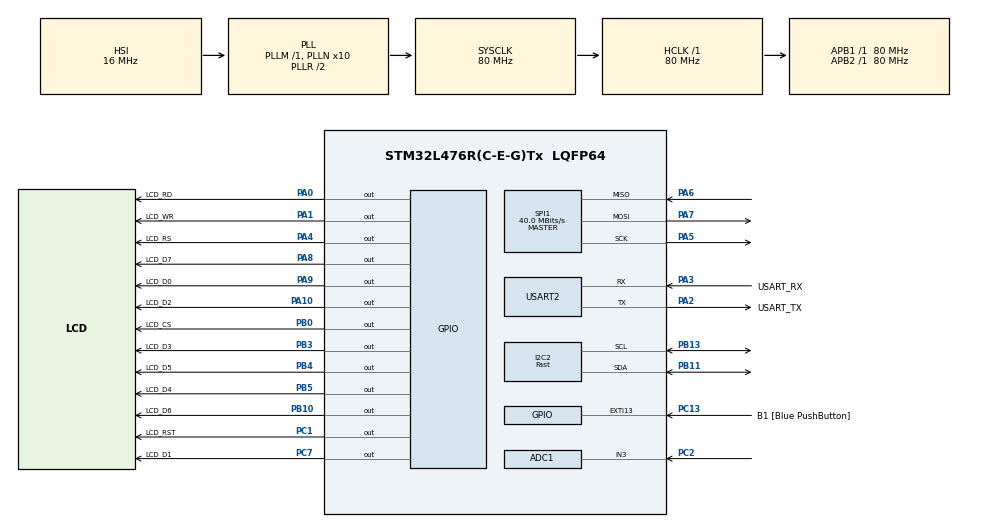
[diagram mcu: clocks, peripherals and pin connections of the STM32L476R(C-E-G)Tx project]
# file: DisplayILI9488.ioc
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ADC1.Channel-1\#ChannelRegularConversion=ADC_CHANNEL_3
ADC1.NbrOfConversionFlag=1
ADC1.OffsetNumber-1\#ChannelRegularConversion=ADC_OFFSET_NONE
ADC1.Rank-1\#ChannelRegularConversion=1
ADC1.SamplingTime-1\#ChannelRegularConversion=ADC_SAMPLETIME_2CYCLES_5
ADC1.master=1
I2C2.I2C_Speed_Mode=I2C_Fast
I2C2.Timing=0x00702991
Mcu.Family=STM32L4
Mcu.Name=STM32L476R(C-E-G)Tx
Mcu.Package=LQFP64
NVIC.PriorityGroup=NVIC_PRIORITYGROUP_4
PA0.GPIO_Label=LCD_RD
PA0.Signal=GPIO_Output
PA1.GPIO_Label=LCD_WR
PA1.Signal=GPIO_Output
PA10.GPIO_Label=LCD_D2
PA10.Signal=GPIO_Output
PA13\ (JTMS-SWDIO).GPIO_Label=TMS
PA13\ (JTMS-SWDIO).Mode=Serial_Wire
PA13\ (JTMS-SWDIO).Signal=SYS_JTMS-SWDIO
PA14\ (JTCK-SWCLK).GPIO_Label=TCK
PA14\ (JTCK-SWCLK).Mode=Serial_Wire
PA14\ (JTCK-SWCLK).Signal=SYS_JTCK-SWCLK
PA2.GPIO_Label=USART_TX
PA2.GPIO_Mode=GPIO_MODE_AF_PP
PA2.GPIO_PuPd=GPIO_NOPULL
PA2.GPIO_Speed=GPIO_SPEED_FREQ_VERY_HIGH
PA2.Mode=Asynchronous
PA2.Signal=USART2_TX
PA3.GPIO_Label=USART_RX
PA3.GPIO_Mode=GPIO_MODE_AF_PP
PA3.GPIO_PuPd=GPIO_NOPULL
PA3.GPIO_Speed=GPIO_SPEED_FREQ_VERY_HIGH
PA3.Mode=Asynchronous
PA3.Signal=USART2_RX
PA4.GPIO_Label=LCD_RS
PA4.Signal=GPIO_Output
PA5.Mode=Full_Duplex_Master
PA5.Signal=SPI1_SCK
PA6.Mode=Full_Duplex_Master
PA6.Signal=SPI1_MISO
PA7.Mode=Full_Duplex_Master
PA7.Signal=SPI1_MOSI
PA8.GPIO_Label=LCD_D7
PA8.Signal=GPIO_Output
PA9.GPIO_Label=LCD_D0
PA9.Signal=GPIO_Output
PB0.GPIO_Label=LCD_CS
PB0.Signal=GPIO_Output
PB10.GPIO_Label=LCD_D6
PB10.Signal=GPIO_Output
PB11.Mode=I2C
PB11.Signal=I2C2_SDA
PB13.Mode=I2C
PB13.Signal=I2C2_SCL
PB3\ (JTDO-TRACESWO).GPIO_Label=LCD_D3
PB3\ (JTDO-TRACESWO).Signal=GPIO_Output
PB4\ (NJTRST).GPIO_Label=LCD_D5
PB4\ (NJTRST).Signal=GPIO_Output
PB5.GPIO_Label=LCD_D4
PB5.Signal=GPIO_Output
PC1.GPIO_Label=LCD_RST
PC1.Signal=GPIO_Output
PC13.GPIO_Label=B1 [Blue PushButton]
PC13.GPIO_ModeDefaultEXTI=GPIO_MODE_IT_FALLING
PC13.GPIO_PuPd=GPIO_NOPULL
PC13.Signal=GPXTI13
PC14-OSC32_IN\ (PC14).Mode=LSE-External-Oscillator
PC14-OSC32_IN\ (PC14).Signal=RCC_OSC32_IN
PC15-OSC32_OUT\ (PC15).Mode=LSE-External-Oscillator
PC15-OSC32_OUT\ (PC15).Signal=RCC_OSC32_OUT
PC2.Signal=ADCx_IN3
PC7.GPIO_Label=LCD_D1
PC7.Signal=GPIO_Output
PH0-OSC_IN\ (PH0).Signal=RCC_OSC_IN
PH1-OSC_OUT\ (PH1).Signal=RCC_OSC_OUT
ProjectManager.HeapSize=0x200
ProjectManager.StackSize=0x400
ProjectManager.TargetToolchain=STM32CubeIDE
RCC.ADCFreq_Value=64000000
RCC.AHBFreq_Value=80000000
RCC.APB1Freq_Value=80000000
RCC.APB1TimFreq_Value=80000000
RCC.APB2Freq_Value=80000000
RCC.APB2TimFreq_Value=80000000
RCC.CortexFreq_Value=80000000
RCC.HCLKFreq_Value=80000000
RCC.HSE_VALUE=8000000
RCC.HSI_VALUE=16000000
RCC.MSI_VALUE=4000000
RCC.PLLN=10
RCC.PLLSourceVirtual=RCC_PLLSOURCE_HSI
RCC.PREFETCH_ENABLE=1
RCC.SYSCLKFreq_VALUE=80000000
RCC.SYSCLKSource=RCC_SYSCLKSOURCE_PLLCLK
RCC.USBFreq_Value=64000000
RCC.VCOOutputFreq_Value=160000000
SH.ADCx_IN3.0=ADC1_IN3,IN3-Single-Ended
SPI1.CalculateBaudRate=40.0 MBits/s
SPI1.Direction=SPI_DIRECTION_2LINES
SPI1.Mode=SPI_MODE_MASTER
SPI1.VirtualType=VM_MASTER
TIM1.Prescaler=79
USART2.VirtualMode-Asynchronous=VM_ASYNC
VP_TIM1_VS_ClockSourceINT.Mode=Internal
board=NUCLEO-L476RG

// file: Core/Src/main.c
/* USER CODE BEGIN Header */
/**
  ******************************************************************************
  * @file           : main.c
  * @brief          : Main program body
  ******************************************************************************
  * @attention
  *
  * Copyright (c) 2022 STMicroelectronics.
  * All rights reserved.
  *
  * This software is licensed under terms that can be found in the LICENSE file
  * in the root directory of this software component.
  * If no LICENSE file comes with this software, it is provided AS-IS.
  *
  ******************************************************************************
  */
/* USER CODE END Header */
#include "main.h"

/* USER CODE BEGIN Includes */
#include <stdio.h>
#include "fonts.h"
#include "tft.h"
#include "user_setting.h"
#include "functions.h"
#include "tft_test.h"

#include "MLX90640_API.h"
/* USER CODE END Includes */

 ADC_HandleTypeDef hadc1;

I2C_HandleTypeDef hi2c2;

SPI_HandleTypeDef hspi1;

TIM_HandleTypeDef htim1;

UART_HandleTypeDef huart2;

/* USER CODE BEGIN PV */
#define  FPS2HZ   0x02
#define  FPS4HZ   0x03
#define  FPS8HZ   0x04
#define  FPS16HZ  0x05
#define  FPS32HZ  0x06

#define  MLX90640_ADDR 0x33
#define	 RefreshRate FPS16HZ
#define  TA_SHIFT 8 //Default shift for MLX90640 in open air

static uint16_t eeMLX90640[832];
static float mlx90640To[768];
uint16_t frame[834];
float emissivity=0.95;

/* USER CODE END PV */

void SystemClock_Config(void);
static void MX_GPIO_Init(void);
static void MX_USART2_UART_Init(void);
static void MX_SPI1_Init(void);
static void MX_TIM1_Init(void);
static void MX_ADC1_Init(void);
static void MX_I2C2_Init(void);

/* USER CODE BEGIN 0 */
uint16_t ID = 0;

/***********************************getHeatMapColor********************************
 * Returns heat map colour for the passed value. The passed value is expected to be
 * between 0 and 1
 * Code developed from source at http://www.andrewnoske.com/wiki/Code_-_heatmaps_and_color_gradients
 * */
uint16_t getHeatMapColour(float value)
{
#define NUM_COLORS 6

  /*Scale colours between 0.0 and 255.0*/
  const float color[NUM_COLORS][3] = { {0.0, 0.0, 255.0}, {0.0, 255.0, 0.0}, {255.0, 255.0, 0.0}, {255.0, 0.0, 0.0}, {255.0, 0.0, 255.0}, {255.0, 255.0, 255.0} };
    // A static array of 4 colors:  (blue,   green,  yellow,  red) using {r,g,b} for each.

  int idx1;        // |-- Our desired color will be between these two indexes in "color".
  int idx2;        // |
  float fractBetween = 0.0f;  // Fraction between "idx1" and "idx2" where our value is.
  unsigned int RGBPixel;

  if(value <= 0.0f)
  {
	  idx1 = idx2 = 0;	// accounts for an input <=0
  }else{
	  if(value >= 1)
	  {
		  idx1 = idx2 = NUM_COLORS - 1;	// accounts for an input >=0
	  }else{
		value = value * (float)(NUM_COLORS - 1);        // Will multiply value by 3.
		idx1  = (int)value;                        // Our desired color will be after this index.
		idx2  = idx1 + 1;                        // ... and before this index (inclusive).
		fractBetween = value - (float)idx1;    // Distance between the two indexes (0-1).
	  }
  }

  /*Calculate pixel colour based on RGB565 format*/
  RGBPixel = (((unsigned int)((color[idx2][0] - color[idx1][0]) * fractBetween + color[idx1][0]) & 0xF8) << 8) |	/*Red*/
		     (((unsigned int)((color[idx2][1] - color[idx1][1]) * fractBetween + color[idx1][1]) & 0xFC) << 3) |	/*Green*/
			 (((unsigned int)((color[idx2][2] - color[idx1][2]) * fractBetween + color[idx1][2]) & 0xFB) >> 3);		/*Blue*/

  return (uint16_t)RGBPixel;
}

#define MLX90640_X_PIXELS 32
#define MLX90640_Y_PIXELS 24
/************************************DisplayHeatMap**********************************/
void DisplayHeatMap(int16_t x, int16_t y, float *HeatMap, float min, float max, uint16_t size)
{
	int Xloop, Yloop;
	float *HPtr;
	float m,c;
	uint16_t PixelColour;

	m = 1.0f / (max - min);
	c = min / (min - max);

	HPtr = HeatMap;
	for(Yloop = 0 ; Yloop < MLX90640_Y_PIXELS ; Yloop++)
	{
		for(Xloop = 0 ; Xloop < MLX90640_X_PIXELS ; Xloop++)
		{
			/*Determine pixel colour and rescale passed heat to be between 0 and 1 for required heat range*/
			PixelColour = getHeatMapColour((*HPtr * m) + c);
			++HPtr;
			/*(0,0) is bottom left for display. Need to invert y-axis to look correct*/
			TFT_fillRect(x + (size * Xloop)  , y + (size * ((MLX90640_Y_PIXELS - 1)  - Yloop)), size, size, PixelColour);
		}
	}
}

void ThermoScaleDraw(int16_t x, int16_t y, int16_t width, int16_t height, float min, float max)
{
	int 	row;
	float 	HeatInc;
	float	Heat;
	int		HeatLine;
	uint16_t	HeatColour;
	float m,c;
	char	msg[6];

	m = 1.0f / (max - min);
	c = min / (min - max);

	HeatInc = (max - min) / (float)(height);
	Heat = min;
	HeatLine = (int)(Heat + 1.0f);
	for(row = y + height; row >= y  ; row--)
	{
		HeatColour = getHeatMapColour((Heat * m) + c);
		if(Heat >= HeatLine)
		{
			TFT_drawFastHLine(x, row, width, HeatColour);
			sprintf(msg,"%+2.0f", Heat);
			TFT_setCursor(x-34, row + 5);
			TFT_printstr((uint8_t *)msg);
			HeatLine += 4;
		}else{
			TFT_drawFastHLine(x + 10, row, width-10 , HeatColour);
		}
		Heat += HeatInc;
	}
}

/* USER CODE END 0 */

int main(void)
{
  /* USER CODE BEGIN 1 */
uint32_t    	ret;
uint16_t    	ADCval;
char			msg[32];
TSPoint			TSCor;
int				TC_status;
float			TC_vdd, TC_Ta, TC_tr;
float			HeatMin = 15.0f, HeatMax = 40.0f;
paramsMLX90640 	mlx90640;

  /* USER CODE END 1 */

  /* MCU Configuration--------------------------------------------------------*/

  /* Reset of all peripherals, Initializes the Flash interface and the Systick. */
  HAL_Init();

  /* Configure the system clock */
  SystemClock_Config();

  /* Initialize all configured peripherals */
  MX_GPIO_Init();
  MX_USART2_UART_Init();
  MX_SPI1_Init();
  MX_TIM1_Init();
  MX_ADC1_Init();
  MX_I2C2_Init();
  /* USER CODE BEGIN 2 */

  /*Setup thermo camera*/
  MLX90640_SetRefreshRate(MLX90640_ADDR, RefreshRate);
  MLX90640_SetChessMode(MLX90640_ADDR);

  TC_status = MLX90640_DumpEE(MLX90640_ADDR, eeMLX90640);
  if (TC_status != 0)
	  printf("\r\nload system parameters error with code:%d\r\n", TC_status);
  TC_status = MLX90640_ExtractParameters(eeMLX90640, &mlx90640);
  if (TC_status != 0)
	  printf("\r\nParameter extraction failed with error code:%d\r\n", TC_status);

  /*Calibrate the ADC*/
  ret = HAL_ADCEx_Calibration_Start(&hadc1, ADC_SINGLE_ENDED);
  if(ret != HAL_OK)
  {
	  Error_Handler();
  }
  HAL_TIM_Base_Start(&htim1);

  /*Reset the display before calling any display related commands*/
  TFT_reset();
  ID = TFT_readID();

  HAL_Delay(100);

  TFT_init(ID);

  TFT_setRotation(1);

  TFT_setCursor(0, 19);

  TFT_setTextbgColor(RED);
  TFT_setTextColor(YELLOW);
  TFT_setTextSize(1);
  TFT_setFont(&mono9x7);

  TFT_setCursor(100, 25);
  TFT_printstr("MLX90640 Thermo Camera");

  ThermoScaleDraw(68, 70, 30, 24 * 10, HeatMin, HeatMax);

  /* USER CODE END 2 */

  /* Infinite loop */
  while (1)
  {

    /* USER CODE BEGIN 3 */

	  /*Thermo camera capture*/
	  TC_status = MLX90640_GetFrameData(MLX90640_ADDR, frame);
      if (TC_status < 0)
      {
		  printf("GetFrame Error: %d\r\n", TC_status);
      }
      TC_vdd = MLX90640_GetVdd(frame, &mlx90640);
      TC_Ta = MLX90640_GetTa(frame, &mlx90640);

      TC_tr = TC_Ta - TA_SHIFT;
      MLX90640_CalculateTo(frame, &mlx90640, emissivity , TC_tr, mlx90640To);

      DisplayHeatMap(112, 70, mlx90640To, HeatMin, HeatMax, 10);

      /************************************/

	  TS_Measure(&hadc1, &TSCor);

	  sprintf(msg, "TS = %04d, %04d, %05d", TSCor.xcor, TSCor.ycor, TSCor.pressure);
	  if(TSCor.pressure < 550 && TSCor.pressure > 100)
	  {
		  TFT_fillCircle(TSCor.xcor, TSCor.ycor, 3, RED);
	  }
	  TFT_setCursor(20, 56);
	  TFT_printstr((uint8_t *)msg);
  }

  /* USER CODE END 3 */
}

void SystemClock_Config(void)
{
  RCC_OscInitTypeDef RCC_OscInitStruct = {0};
  RCC_ClkInitTypeDef RCC_ClkInitStruct = {0};

  /** Configure the main internal regulator output voltage
  */
  if (HAL_PWREx_ControlVoltageScaling(PWR_REGULATOR_VOLTAGE_SCALE1) != HAL_OK)
  {
    Error_Handler();
  }

  /** Initializes the RCC Oscillators according to the specified parameters
  * in the RCC_OscInitTypeDef structure.
  */
  RCC_OscInitStruct.OscillatorType = RCC_OSCILLATORTYPE_HSI;
  RCC_OscInitStruct.HSIState = RCC_HSI_ON;
  RCC_OscInitStruct.HSICalibrationValue = RCC_HSICALIBRATION_DEFAULT;
  RCC_OscInitStruct.PLL.PLLState = RCC_PLL_ON;
  RCC_OscInitStruct.PLL.PLLSource = RCC_PLLSOURCE_HSI;
  RCC_OscInitStruct.PLL.PLLM = 1;
  RCC_OscInitStruct.PLL.PLLN = 10;
  RCC_OscInitStruct.PLL.PLLP = RCC_PLLP_DIV7;
  RCC_OscInitStruct.PLL.PLLQ = RCC_PLLQ_DIV2;
  RCC_OscInitStruct.PLL.PLLR = RCC_PLLR_DIV2;
  if (HAL_RCC_OscConfig(&RCC_OscInitStruct) != HAL_OK)
  {
    Error_Handler();
  }

  /** Initializes the CPU, AHB and APB buses clocks
  */
  RCC_ClkInitStruct.ClockType = RCC_CLOCKTYPE_HCLK|RCC_CLOCKTYPE_SYSCLK
                              |RCC_CLOCKTYPE_PCLK1|RCC_CLOCKTYPE_PCLK2;
  RCC_ClkInitStruct.SYSCLKSource = RCC_SYSCLKSOURCE_PLLCLK;
  RCC_ClkInitStruct.AHBCLKDivider = RCC_SYSCLK_DIV1;
  RCC_ClkInitStruct.APB1CLKDivider = RCC_HCLK_DIV1;
  RCC_ClkInitStruct.APB2CLKDivider = RCC_HCLK_DIV1;

  if (HAL_RCC_ClockConfig(&RCC_ClkInitStruct, FLASH_LATENCY_4) != HAL_OK)
  {
    Error_Handler();
  }
}

static void MX_ADC1_Init(void)
{

  ADC_MultiModeTypeDef multimode = {0};
  ADC_ChannelConfTypeDef sConfig = {0};

  /** Common config
  */
  hadc1.Instance = ADC1;
  hadc1.Init.ClockPrescaler = ADC_CLOCK_ASYNC_DIV1;
  hadc1.Init.Resolution = ADC_RESOLUTION_12B;
  hadc1.Init.DataAlign = ADC_DATAALIGN_RIGHT;
  hadc1.Init.ScanConvMode = ADC_SCAN_DISABLE;
  hadc1.Init.EOCSelection = ADC_EOC_SINGLE_CONV;
  hadc1.Init.LowPowerAutoWait = DISABLE;
  hadc1.Init.ContinuousConvMode = DISABLE;
  hadc1.Init.NbrOfConversion = 1;
  hadc1.Init.DiscontinuousConvMode = DISABLE;
  hadc1.Init.ExternalTrigConv = ADC_SOFTWARE_START;
  hadc1.Init.ExternalTrigConvEdge = ADC_EXTERNALTRIGCONVEDGE_NONE;
  hadc1.Init.DMAContinuousRequests = DISABLE;
  hadc1.Init.Overrun = ADC_OVR_DATA_PRESERVED;
  hadc1.Init.OversamplingMode = DISABLE;
  if (HAL_ADC_Init(&hadc1) != HAL_OK)
  {
    Error_Handler();
  }

  /** Configure the ADC multi-mode
  */
  multimode.Mode = ADC_MODE_INDEPENDENT;
  if (HAL_ADCEx_MultiModeConfigChannel(&hadc1, &multimode) != HAL_OK)
  {
    Error_Handler();
  }

  /** Configure Regular Channel
  */
  sConfig.Channel = ADC_CHANNEL_3;
  sConfig.Rank = ADC_REGULAR_RANK_1;
  sConfig.SamplingTime = ADC_SAMPLETIME_2CYCLES_5;
  sConfig.SingleDiff = ADC_SINGLE_ENDED;
  sConfig.OffsetNumber = ADC_OFFSET_NONE;
  sConfig.Offset = 0;
  if (HAL_ADC_ConfigChannel(&hadc1, &sConfig) != HAL_OK)
  {
    Error_Handler();
  }

}

static void MX_I2C2_Init(void)
{

  hi2c2.Instance = I2C2;
  hi2c2.Init.Timing = 0x00702991;
  hi2c2.Init.OwnAddress1 = 0;
  hi2c2.Init.AddressingMode = I2C_ADDRESSINGMODE_7BIT;
  hi2c2.Init.DualAddressMode = I2C_DUALADDRESS_DISABLE;
  hi2c2.Init.OwnAddress2 = 0;
  hi2c2.Init.OwnAddress2Masks = I2C_OA2_NOMASK;
  hi2c2.Init.GeneralCallMode = I2C_GENERALCALL_DISABLE;
  hi2c2.Init.NoStretchMode = I2C_NOSTRETCH_DISABLE;
  if (HAL_I2C_Init(&hi2c2) != HAL_OK)
  {
    Error_Handler();
  }

  /** Configure Analogue filter
  */
  if (HAL_I2CEx_ConfigAnalogFilter(&hi2c2, I2C_ANALOGFILTER_ENABLE) != HAL_OK)
  {
    Error_Handler();
  }

  /** Configure Digital filter
  */
  if (HAL_I2CEx_ConfigDigitalFilter(&hi2c2, 0) != HAL_OK)
  {
    Error_Handler();
  }

}

static void MX_SPI1_Init(void)
{

  /* SPI1 parameter configuration*/
  hspi1.Instance = SPI1;
  hspi1.Init.Mode = SPI_MODE_MASTER;
  hspi1.Init.Direction = SPI_DIRECTION_2LINES;
  hspi1.Init.DataSize = SPI_DATASIZE_4BIT;
  hspi1.Init.CLKPolarity = SPI_POLARITY_LOW;
  hspi1.Init.CLKPhase = SPI_PHASE_1EDGE;
  hspi1.Init.NSS = SPI_NSS_SOFT;
  hspi1.Init.BaudRatePrescaler = SPI_BAUDRATEPRESCALER_2;
  hspi1.Init.FirstBit = SPI_FIRSTBIT_MSB;
  hspi1.Init.TIMode = SPI_TIMODE_DISABLE;
  hspi1.Init.CRCCalculation = SPI_CRCCALCULATION_DISABLE;
  hspi1.Init.CRCPolynomial = 7;
  hspi1.Init.CRCLength = SPI_CRC_LENGTH_DATASIZE;
  hspi1.Init.NSSPMode = SPI_NSS_PULSE_ENABLE;
  if (HAL_SPI_Init(&hspi1) != HAL_OK)
  {
    Error_Handler();
  }

}

static void MX_TIM1_Init(void)
{

  TIM_ClockConfigTypeDef sClockSourceConfig = {0};
  TIM_MasterConfigTypeDef sMasterConfig = {0};

  htim1.Instance = TIM1;
  htim1.Init.Prescaler = 79;
  htim1.Init.CounterMode = TIM_COUNTERMODE_UP;
  htim1.Init.Period = 65535;
  htim1.Init.ClockDivision = TIM_CLOCKDIVISION_DIV1;
  htim1.Init.RepetitionCounter = 0;
  htim1.Init.AutoReloadPreload = TIM_AUTORELOAD_PRELOAD_DISABLE;
  if (HAL_TIM_Base_Init(&htim1) != HAL_OK)
  {
    Error_Handler();
  }
  sClockSourceConfig.ClockSource = TIM_CLOCKSOURCE_INTERNAL;
  if (HAL_TIM_ConfigClockSource(&htim1, &sClockSourceConfig) != HAL_OK)
  {
    Error_Handler();
  }
  sMasterConfig.MasterOutputTrigger = TIM_TRGO_RESET;
  sMasterConfig.MasterOutputTrigger2 = TIM_TRGO2_RESET;
  sMasterConfig.MasterSlaveMode = TIM_MASTERSLAVEMODE_DISABLE;
  if (HAL_TIMEx_MasterConfigSynchronization(&htim1, &sMasterConfig) != HAL_OK)
  {
    Error_Handler();
  }

}

static void MX_USART2_UART_Init(void)
{

  huart2.Instance = USART2;
  huart2.Init.BaudRate = 115200;
  huart2.Init.WordLength = UART_WORDLENGTH_8B;
  huart2.Init.StopBits = UART_STOPBITS_1;
  huart2.Init.Parity = UART_PARITY_NONE;
  huart2.Init.Mode = UART_MODE_TX_RX;
  huart2.Init.HwFlowCtl = UART_HWCONTROL_NONE;
  huart2.Init.OverSampling = UART_OVERSAMPLING_16;
  huart2.Init.OneBitSampling = UART_ONE_BIT_SAMPLE_DISABLE;
  huart2.AdvancedInit.AdvFeatureInit = UART_ADVFEATURE_NO_INIT;
  if (HAL_UART_Init(&huart2) != HAL_OK)
  {
    Error_Handler();
  }

}

static void MX_GPIO_Init(void)
{
  GPIO_InitTypeDef GPIO_InitStruct = {0};

  /* GPIO Ports Clock Enable */
  __HAL_RCC_GPIOC_CLK_ENABLE();
  __HAL_RCC_GPIOH_CLK_ENABLE();
  __HAL_RCC_GPIOA_CLK_ENABLE();
  __HAL_RCC_GPIOB_CLK_ENABLE();

  /*Configure GPIO pin Output Level */
  HAL_GPIO_WritePin(GPIOC, LCD_RST_Pin|LCD_D1_Pin, GPIO_PIN_RESET);

  /*Configure GPIO pin Output Level */
  HAL_GPIO_WritePin(GPIOA, LCD_RD_Pin|LCD_WR_Pin|LCD_RS_Pin|LCD_D7_Pin
                          |LCD_D0_Pin|LCD_D2_Pin, GPIO_PIN_RESET);

  /*Configure GPIO pin Output Level */
  HAL_GPIO_WritePin(GPIOB, LCD_CS_Pin|LCD_D6_Pin|LCD_D3_Pin|LCD_D5_Pin
                          |LCD_D4_Pin, GPIO_PIN_RESET);

  /*Configure GPIO pin : B1_Pin */
  GPIO_InitStruct.Pin = B1_Pin;
  GPIO_InitStruct.Mode = GPIO_MODE_IT_FALLING;
  GPIO_InitStruct.Pull = GPIO_NOPULL;
  HAL_GPIO_Init(B1_GPIO_Port, &GPIO_InitStruct);

  /*Configure GPIO pins : LCD_RST_Pin LCD_D1_Pin */
  GPIO_InitStruct.Pin = LCD_RST_Pin|LCD_D1_Pin;
  GPIO_InitStruct.Mode = GPIO_MODE_OUTPUT_PP;
  GPIO_InitStruct.Pull = GPIO_NOPULL;
  GPIO_InitStruct.Speed = GPIO_SPEED_FREQ_LOW;
  HAL_GPIO_Init(GPIOC, &GPIO_InitStruct);

  /*Configure GPIO pins : LCD_RD_Pin LCD_WR_Pin LCD_RS_Pin LCD_D7_Pin
                           LCD_D0_Pin LCD_D2_Pin */
  GPIO_InitStruct.Pin = LCD_RD_Pin|LCD_WR_Pin|LCD_RS_Pin|LCD_D7_Pin
                          |LCD_D0_Pin|LCD_D2_Pin;
  GPIO_InitStruct.Mode = GPIO_MODE_OUTPUT_PP;
  GPIO_InitStruct.Pull = GPIO_NOPULL;
  GPIO_InitStruct.Speed = GPIO_SPEED_FREQ_LOW;
  HAL_GPIO_Init(GPIOA, &GPIO_InitStruct);

  /*Configure GPIO pins : LCD_CS_Pin LCD_D6_Pin LCD_D3_Pin LCD_D5_Pin
                           LCD_D4_Pin */
  GPIO_InitStruct.Pin = LCD_CS_Pin|LCD_D6_Pin|LCD_D3_Pin|LCD_D5_Pin
                          |LCD_D4_Pin;
  GPIO_InitStruct.Mode = GPIO_MODE_OUTPUT_PP;
  GPIO_InitStruct.Pull = GPIO_NOPULL;
  GPIO_InitStruct.Speed = GPIO_SPEED_FREQ_LOW;
  HAL_GPIO_Init(GPIOB, &GPIO_InitStruct);

}

void Error_Handler(void)
{
  __disable_irq();
  while (1)
  {
  }
}
